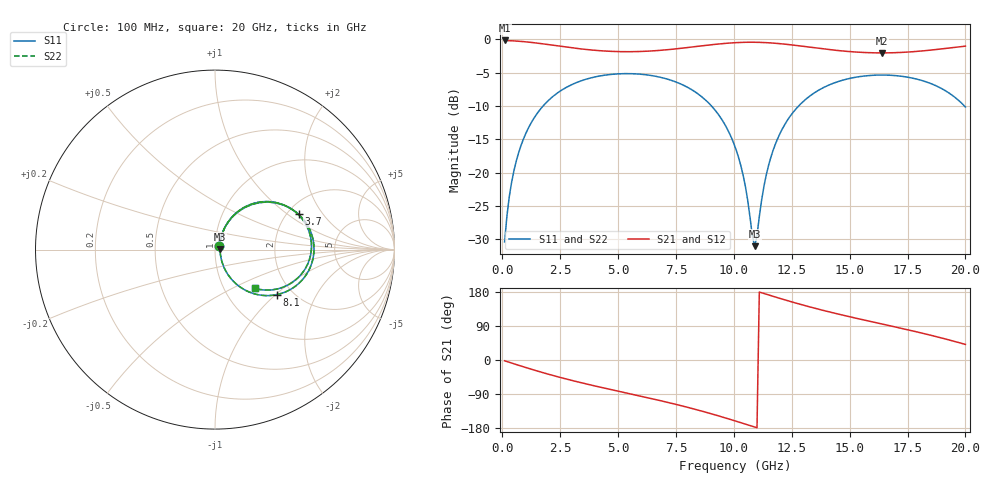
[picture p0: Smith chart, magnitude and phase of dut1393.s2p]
! Touchstone file exported from HFSS 2026.1.0
!  File:  C:/ffzhzh/LocalFiles/Ansys_Project_Files/temp_train_TSV_RDL_1393_1783350092_46376.aedt
!  Generated:  11:19:25 PM Jul  6, 2026
!  Design:  TSV_RDL
!  Project:  temp_train_TSV_RDL_1393_1783350092_46376
! Variables:
!  h_bsmrdl = 5.28um
!  h_ox = 20um
!  h_rdl = 5um
!  h_sub = 61.84um
!  h_tmrdl = 4.59um
!  h_tsv = 61.84um
!  h_via = 3um
!  l_bsmrdl = 856.76um
!  l_sub = 5738.29um
!  l_tmrdl = 663.81um
!  m_sub = 200um
!  pitch = 46.37um
!  r_tsv = 7.64um
!  s_tmrdl = 10um
!  w_bsmrdl = 20.07um
!  w_sub = 500um
!  w_tmrdl = 17.52um
!  x_tsv_center1 = 672.57um
!  x_tsv_center2 = 1549.4um
!  x_tsv_center3 = 2230.73um
!  x_tsv_center4 = 3107.56um
!  x_tsv_center5 = 3788.89um
!  x_tsv_center6 = 4665.72um
# GHz S MA R 50.000000
! Terminal data exported
! Port[1] = TM_RDL1_1_T1
! Port[2] = TM_RDL5_1_T1
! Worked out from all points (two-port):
!   200 points, 100 MHz to 20 GHz, reference 50 ohm
!   highest |S21| = -0.19 dB at 100 MHz (marker M1); lowest = -2.1 dB at 16.4 GHz (marker M2)
!   |S21| within 3 dB of the highest: start of sweep to end of sweep
!   lowest |S11| = -31.0 dB at 10.9 GHz (marker M3), VSWR 1.06, Z = 52.9 + j0.115 ohm
!   |S11| at or under -10 dB: start of sweep to 1.768 GHz; 9.029 GHz to 12.8 GHz (3.774 GHz wide, 34.6 % of centre); 19.95192 GHz to end of sweep
!   |S22| runs from -31.0 to -5.2 dB; largest |S21 - S12| = 1.7e-14
!   S11 on the Smith chart (normalised r, x): 100 MHz: 1.04, +0.04; 3.7 GHz: 2.30, +1.21; 8.1 GHz: 1.66, -1.02; 20 GHz: 1.39, -0.66
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0.1  0.03018 42.4  0.9782 -2.1  0.9782 -2.1  0.03018 42.4
! Gamma 0 0 0 0
! Port Impedance 50 0 50 0
0.3  0.06549 63.1  0.9749 -6.1  0.9749 -6.1  0.06549 63.1
0.5  0.1027 66.4  0.9708 -10.0  0.9708 -10.0  0.1027 66.4
1.1  0.211 61.5  0.9521 -21.5  0.9521 -21.5  0.211 61.5
2.1  0.3611 46.4  0.9053 -39.4  0.9053 -39.4  0.3612 46.4
3.5  0.4935 25.7  0.8415 -61.3  0.8415 -61.3  0.4935 25.7
3.7  0.5056 22.9  0.8344 -64.2  0.8344 -64.2  0.5057 22.9
5.3  0.5516 1.7  0.8056 -86.3  0.8056 -86.3  0.5516 1.8
6.8  0.5192 -17.9  0.8242 -106.9  0.8242 -106.9  0.5193 -17.8
8.1  0.4262 -36.0  0.8696 -126.4  0.8696 -126.4  0.4262 -36.0
9.3  0.2775 -53.7  0.919 -146.8  0.919 -146.8  0.2775 -53.7
10.1  0.1477 -62.9  0.9423 -161.5  0.9423 -161.5  0.1478 -62.9
10.5  0.07836 -60.3  0.9478 -169.2  0.9478 -169.2  0.07847 -60.2
10.9  0.02804 2.2  0.9484 -176.9  0.9484 -176.9  0.0282 2.1
11.3  0.07891 63.0  0.9439 175.5  0.9439 175.5  0.07891 62.9
11.8  0.1643 64.9  0.9318 166.0  0.9318 166.0  0.1642 64.8
12.5  0.2742 56.6  0.9058 153.4  0.9058 153.4  0.2741 56.5
13.4  0.3877 43.6  0.8658 138.2  0.8658 138.2  0.3877 43.6
16.4  0.5386 3.8  0.7892 95.0  0.7892 95.0  0.5385 3.8
16.7  0.5371 -0.0  0.79 90.9  0.79 90.9  0.537 -0.0
18.6  0.4578 -24.8  0.8316 63.9  0.8316 63.9  0.4577 -24.8
20  0.3099 -44.2  0.8866 41.1  0.8866 41.1  0.3099 -44.1
